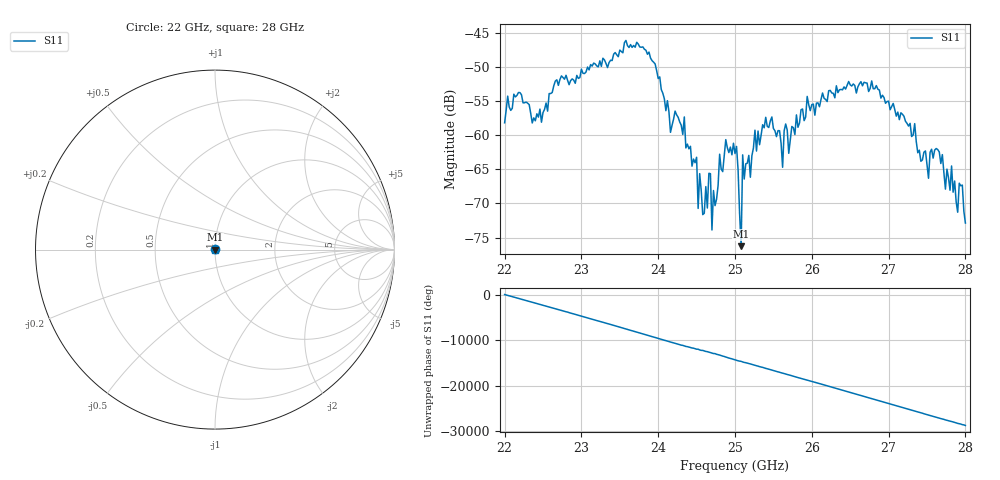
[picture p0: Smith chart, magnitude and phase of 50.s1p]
#  HZ  S  RI  R  50.00
! Rohde & Schwarz ZVA40 4Ports - Version 3.90 - 1145.1110k42 SN: 100403
! Date: 2023-10-04 08:50:54
! Measurement: S12
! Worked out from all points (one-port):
!   301 points, 22 GHz to 28 GHz, reference 50 ohm
!   lowest |S11| = -76.3 dB at 25.08 GHz (marker M1), VSWR 1.00, Z = 50 + j0.0143 ohm
!   |S11| at or under -10 dB: start of sweep to end of sweep
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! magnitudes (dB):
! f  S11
! 22 GHz  -58.2
! 22.76 GHz  -51.6
! 23.5 GHz  -47.5
! 23.88 GHz  -47.8
! 24.16 GHz  -59.6
! 24.26 GHz  -57.4
! 24.5 GHz  -63.2
! 24.52 GHz  -70.7
! 24.54 GHz  -65.6
! 24.58 GHz  -71.6
! 24.68 GHz  -65.6
! 24.7 GHz  -73.9
! 24.8 GHz  -62.8
! 25 GHz  -62.7
! 25.02 GHz  -61.7
! 25.08 GHz  -76.3
! 25.1 GHz  -62.9
! 25.2 GHz  -66.2
! 25.26 GHz  -59.3
! 25.48 GHz  -57.3
! 25.62 GHz  -64.7
! 25.66 GHz  -58.4
! 25.76 GHz  -58.9
! 26.5 GHz  -52.6
! 27.26 GHz  -58.7
! 27.52 GHz  -66.3
! 27.82 GHz  -64.5
! 28 GHz  -72.9
